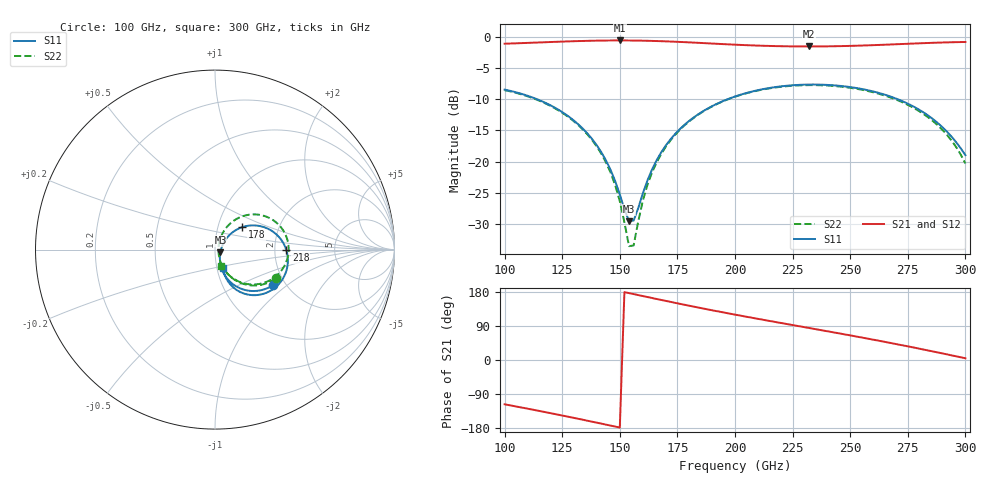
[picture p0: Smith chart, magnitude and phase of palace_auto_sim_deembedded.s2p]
! Created with skrf 1.11.0 (http://scikit-rf.org).
# GHz S DB R 50.0
!freq dBS11 angS11 dBS21 angS21 dBS12 angS12 dBS22 angS22
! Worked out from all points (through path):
!   101 points, 100 GHz to 300 GHz, reference 50 ohm
!   highest |S21| = -0.58 dB at 150 GHz (marker M1); lowest = -1.5 dB at 232 GHz (marker M2)
!   group delay of S21, straight-line fit = 3.28 ps
!   lowest |S11| = -29.5 dB at 154 GHz (marker M3), VSWR 1.07, Z = 53.1 - j1.55 ohm
!   |S11| at or under -10 dB: 114.1 GHz to 196.8 GHz (82.68 GHz wide, 53.2 % of centre); 270.6 GHz to end of sweep
!   |S22| runs from -33.5 to -7.7 dB; largest |S21 - S12| = 1.1e-14
!   S11 on the Smith chart (normalised r, x): 100 GHz: 1.71, -0.80; 178 GHz: 1.31, +0.34; 218 GHz: 2.32, -0.00; 300 GHz: 1.07, -0.22
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100  -8.46 -31.9  -1.10 -117.0  -1.10 -117.0  -8.54 -25.0
120  -10.99 -53.1  -0.83 -140.4  -0.83 -140.4  -11.09 -45.5
134  -14.73 -66.5  -0.66 -157.7  -0.66 -157.7  -14.86 -59.4
144  -19.81 -70.7  -0.59 -170.5  -0.59 -170.5  -20.12 -66.1
150  -25.26 -60.4  -0.58 -178.3  -0.58 -178.3  -26.35 -61.1
154  -29.54 -25.9  -0.59 176.5  -0.59 176.5  -33.55 -23.4
156  -29.44 2.5  -0.59 173.9  -0.59 173.9  -33.43 24.0
160  -25.09 35.3  -0.62 168.7  -0.62 168.7  -26.26 60.2
162  -23.01 41.1  -0.63 166.2  -0.63 166.2  -23.72 63.9
168  -18.49 45.2  -0.70 158.5  -0.70 158.5  -18.76 64.4
178  -14.12 39.5  -0.85 145.9  -0.85 145.9  -14.22 56.7
188  -11.52 30.4  -1.03 133.7  -1.03 133.7  -11.57 46.9
200  -9.56 18.4  -1.26 119.8  -1.26 119.8  -9.60 34.6
218  -8.03 -0.1  -1.49 99.8  -1.49 99.8  -8.09 16.1
232  -7.65 -14.4  -1.54 84.6  -1.54 84.6  -7.74 1.9
234  -7.64 -16.4  -1.54 82.5  -1.54 82.5  -7.74 -0.1
252  -8.16 -34.5  -1.43 62.7  -1.43 62.7  -8.28 -18.5
268  -9.63 -50.3  -1.22 44.4  -1.22 44.4  -9.79 -35.4
278  -11.27 -59.5  -1.07 32.4  -1.07 32.4  -11.49 -46.2
288  -13.81 -66.9  -0.93 19.9  -0.93 19.9  -14.18 -57.1
294  -16.00 -68.9  -0.87 12.3  -0.87 12.3  -16.62 -63.1
300  -18.96 -66.1  -0.83 4.5  -0.83 4.5  -20.31 -68.0
